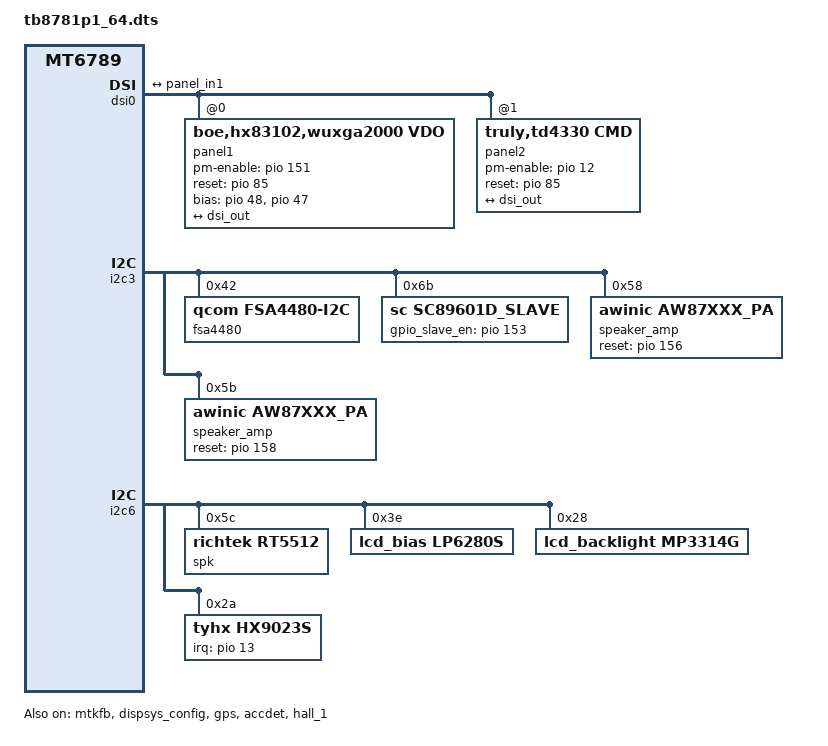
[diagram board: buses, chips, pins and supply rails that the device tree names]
// SPDX-License-Identifier: (GPL-2.0 OR MIT)
/*
 * Copyright (C) 2021 MediaTek Inc.
 */
/dts-v1/;
/plugin/;
#include <dt-bindings/interrupt-controller/arm-gic.h>
#include <dt-bindings/interrupt-controller/irq.h>
#include <dt-bindings/pinctrl/mt6789-pinfunc.h>
#include "mediatek/cust_mt6789_camera.dtsi"

&chosen {
};

&android {
	hardware = "mt8781";
};

&mtk_leds {
	compatible = "mediatek,disp-leds";

	backlight {
		led_mode = <4>;
		gate_enable = <1>;
		pwm_config = <0 1 0 0 0>;
		min-brightness=<48>;
	};
};

&pio {
	mtkfb_pins_lcm_led_en1: lcm_led_en1_gpio {
		pins_cmd_dat {
			pinmux = <PINMUX_GPIO12__FUNC_GPIO12>;
			slew-rate = <1>;
			output-high;
		};
	};

	mtkfb_pins_lcm_led_en0: lcm_led_en0_gpio {
		pins_cmd_dat {
			pinmux = <PINMUX_GPIO12__FUNC_GPIO12>;
			slew-rate = <1>;
			output-low;
		};
	};

	mtkfb_pins_lcm_rst_out1_gpio: lcm_rst_out1_gpio {
		pins_cmd_dat {
			pinmux = <PINMUX_GPIO85__FUNC_GPIO85>;
			slew-rate = <1>;
			output-high;
		};
	};

	mtkfb_pins_lcm_rst_out0_gpio: lcm_rst_out0_gpio {
		pins_cmd_dat {
			pinmux = <PINMUX_GPIO85__FUNC_GPIO85>;
			slew-rate = <1>;
			output-low;
		};
	};
	mtkfb_pins_lcm_dsi_te: lcm_dsi_te {
		pins_cmd_dat {
			pinmux = <PINMUX_GPIO83__FUNC_DSI_TE>;
		};
	};
};

&mtkfb {
	pinctrl-names = "lcm_led_en1_gpio", "lcm_led_en0_gpio",
		"lcm_rst_out1_gpio", "lcm_rst_out0_gpio",
		"mode_te_te";
	pinctrl-0 = <&mtkfb_pins_lcm_led_en1>;
	pinctrl-1 = <&mtkfb_pins_lcm_led_en0>;
	pinctrl-2 = <&mtkfb_pins_lcm_rst_out1_gpio>;
	pinctrl-3 = <&mtkfb_pins_lcm_rst_out0_gpio>;
	pinctrl-4 = <&mtkfb_pins_lcm_dsi_te>;
	status = "okay";
};

&dispsys_config {
	pinctrl-names =
		"lcm_rst_out1_gpio", "lcm_rst_out0_gpio",
		"mode_te_te";
	pinctrl-0 = <&mtkfb_pins_lcm_rst_out1_gpio>;
	pinctrl-1 = <&mtkfb_pins_lcm_rst_out0_gpio>;
	pinctrl-2 = <&mtkfb_pins_lcm_dsi_te>;
	status = "okay";
};

&dsi0 {
	status = "okay";
	#address-cells = <1>;
	#size-cells = <0>;
	panel1@0 {
		compatible = "boe,hx83102,wuxga2000,vdo";
		reg = <0>;
		pm-enable-gpios = <&pio 151 0>;
		reset-gpios = <&pio 85 0>;
		bias-gpios= <&pio 48 0>, <&pio 47 0>;
		pinctrl-names = "default";
		port {
			panel_in1: endpoint {
				remote-endpoint = <&dsi_out>;
			};
		};
	};
	panel2@0 {
		compatible = "truly,td4330,cmd";
		reg = <1>;
		pm-enable-gpios = <&pio 12 0>;
		reset-gpios = <&pio 85 0>;
		gate-ic = <4831>;
		pinctrl-names = "default";
		port {
			panel_in2: endpoint {
				remote-endpoint = <&dsi_out>;
			};
		};
	};
	ports {
		port {
			dsi_out: endpoint {
				remote-endpoint = <&panel_in1>;
			};
		};
	};
};

/* GPS GPIO standardization start */
&pio {
	gps_pins_default: gps_default {
	};
	gps_l1_lna_pins_ol: gps_l1_lna@0 {
		pins_cmd_dat {
			pinmux = <PINMUX_GPIO25__FUNC_GPIO25>;
			output-low;
		};
	};
	gps_l1_lna_pins_dsp_ctrl: gps_l1_lna@1 {
		pins_cmd_dat {
			pinmux = <PINMUX_GPIO25__FUNC_GPS_L1_ELNA_EN>;
		};
	};
	gps_l1_lna_pins_oh: gps_l1_lna@2 {
		pins_cmd_dat {
			pinmux = <PINMUX_GPIO25__FUNC_GPIO25>;
			output-high;
		};
	};
	gps_l5_lna_pins_ol: gps_l5_lna@0 {
		pins_cmd_dat {
			pinmux = <PINMUX_GPIO26__FUNC_GPIO26>;
			output-low;
		};
	};
	gps_l5_lna_pins_dsp_ctrl: gps_l5_lna@1 {
		pins_cmd_dat {
			pinmux = <PINMUX_GPIO26__FUNC_GPS_L5_ELNA_EN>;
		};
	};
	gps_l5_lna_pins_oh: gps_l5_lna@2 {
		pins_cmd_dat {
			pinmux = <PINMUX_GPIO26__FUNC_GPIO26>;
			output-high;
		};
	};
};
&gps {
	pinctrl-names = "default",
		"gps_l1_lna_disable",
		"gps_l1_lna_dsp_ctrl",
		"gps_l1_lna_enable",
		"gps_l5_lna_disable",
		"gps_l5_lna_dsp_ctrl",
		"gps_l5_lna_enable";
	pinctrl-0 = <&gps_pins_default>;
	pinctrl-1 = <&gps_l1_lna_pins_ol>;
	pinctrl-2 = <&gps_l1_lna_pins_dsp_ctrl>;
	pinctrl-3 = <&gps_l1_lna_pins_oh>;
	pinctrl-4 = <&gps_l5_lna_pins_ol>;
	pinctrl-5 = <&gps_l5_lna_pins_dsp_ctrl>;
	pinctrl-6 = <&gps_l5_lna_pins_oh>;
	status = "okay";
};
/* GPS GPIO standardization end */

#include "mediatek/cust_mt6789_touch_nt36xxx_1200x2000.dtsi"
#include "mediatek/cust_mt6789_camera_v4l2.dtsi"

&i2c3 {
	/*
	was4780: was4780@42 {
		compatible = "willsemi,was4780-i2c";
		reg = <0x42>;
		status = "okay";
	};
	*/
	fsa4480: fsa4480@42 {
		compatible = "qcom,fsa4480-i2c";
		reg = <0x42>;
		status = "okay";
	};

        sc89601d_slave@6B {
                compatible = "sc,sc89601d_slave";
                reg = <0x6B>;
                status = "okay";
                sc,gpio_slave_en = <&pio 153 0>;
                charger_name = "secondary_chg";
                alias_name = "sc89601d_slave";
        };

	speaker_amp@58 {
		compatible = "awinic,aw87xxx_pa";
		reg = <0x58>;
		reset-gpio = <&pio 156 0>;
		dev_index = < 0 >;
		status = "okay";
	};

	speaker_amp@5b {
		compatible = "awinic,aw87xxx_pa";
		reg = <0x5b>;
		reset-gpio = <&pio 158 0>;
		dev_index = < 1 >;
		status = "okay";
	};
};
/*
&i2c7 {
	speaker_amp@58 {
		compatible = "awinic,aw87xxx_pa";
		reg = <0x58>;
		reset-gpio = <&pio 156 0>;
		dev_index = < 0 >;
		status = "okay";
	};

	speaker_amp@5b {
		compatible = "awinic,aw87xxx_pa";
		reg = <0x5b>;
		reset-gpio = <&pio 158 0>;
		dev_index = < 1 >;
		status = "okay";
	};
};
*/
&i2c6 {
	spk: speaker_amp@5c {
		compatible = "richtek,rt5512";
		#sound-dai-cells = <0>;
		reg = <0x5c>;
		status = "okay";
		sound-name-prefix = "Left";
	};
	lp6280s@3e {
	compatible = "lcd_bias,lp6280s";
	reg = <0x3e>;
	id = <6>;
	status = "okay";
	};
	
	mp3314g@28 {
		compatible = "lcd_backlight,mp3314g";
		reg = <0x28>;
		id = <6>;
		status = "okay";
	};

	hx9023s: hx9023s@2a {
		compatible = "tyhx,hx9023s";
		reg = <0x2a>;
 		tyhx,irq-gpio = <&pio 13 0x0>;
		tyhx,irq-flags = <2>; //1:rising 2:falling
		tyhx,channel-flag = <0x7>;
		//tyhx,power-supply-type =<1>;//可选，如何供电，如果有的话，客户自行移植
		status = "okay";
	};
	
};

/* accdet start */
&accdet {
	accdet-mic-vol = <6>;
	headset-mode-setting = <0x500 0x500 1 0x1f0 0x800 0x800 0x20 0x44>;
	accdet-plugout-debounce = <1>;
	accdet-mic-mode = <1>;
	headset-eint-level-pol = <8>;
	headset-three-key-threshold = <0 80 220 400>;
	headset-three-key-threshold-CDD = <0 121 192 600>;
	headset-four-key-threshold = <0 58 121 192 400>;
	pinctrl-names = "default", "state_eint_as_int";
	pinctrl-0 = <&accdet_pins_default>;
	pinctrl-1 = <&accdet_pins_eint_as_int>;
	status = "okay";
};
&pio {
	accdet_pins_default: accdetdefault {
	};
	accdet_pins_eint_as_int: accdeteint@0 {
		pins_cmd_dat {
			pinmux = <PINMUX_GPIO10__FUNC_GPIO10>;
			slew-rate = <0>;
			bias-disable;
		};
	};
};
/* accdet end */

&hall_1{
pinctrl-names = "default", "hall_eint";
	pinctrl-0 = <&hall_eint_default>;
	pinctrl-1 = <&hall_eint_as_int>;
    interrupt-parent = <&pio>;
    interrupts = <7 IRQ_TYPE_LEVEL_LOW 7 0>;
	debouonce = <0>;
	status = "okay";
};
&pio {
	hall_eint_default: halldefault {
	};
	hall_eint_as_int: halleint{
		pins_cmd_dat {
			pinmux = <PINMUX_GPIO7__FUNC_GPIO7>;
			slew-rate = <0>;
			bias-disable;
		};
	};
};

&sound {
	mediatek,spk-i2s = <3 0>;
	mediatek,speaker-codec {
		sound-dai = <&spk>;
	};
};

#include <tb8781p1_64/cust.dtsi>
/*End of this file, DO NOT ADD ANYTHING HERE*/
